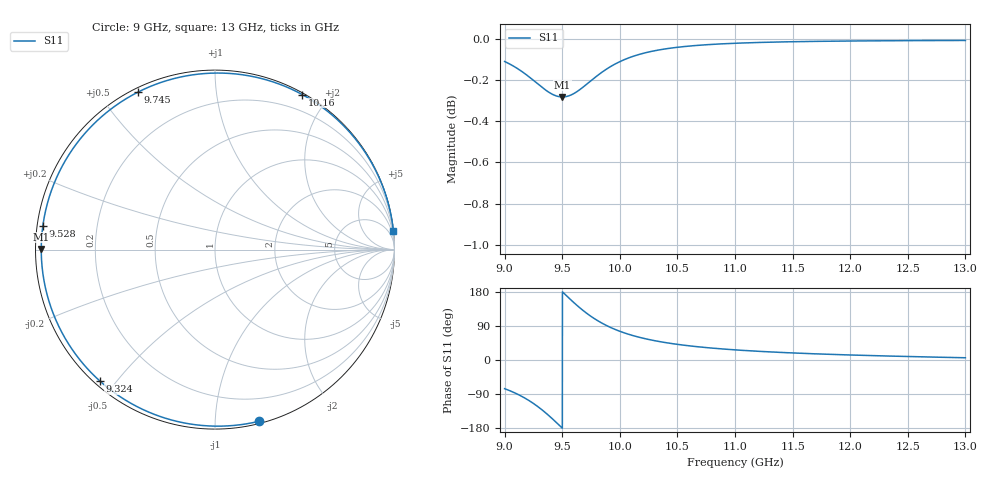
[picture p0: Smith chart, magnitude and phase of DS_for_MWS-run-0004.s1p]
! TOUCHSTONE file generated by CST DESIGN STUDIO
! Date and time: Tue Feb  4 17:30:56 2025
! Project name: C:\Work\MatlabApps\UnitCellOptimizationMatlab\CST\unitcell.cst
! Tree item: Tasks\Sweep1\SPara1\S-Parameters
! Header version: 2024
! Port assignment regex: !\s*Touchstone port\s*([0-9]+)\s*=\s*(CST MWS port|CST DES external port|CST DES block port)\s*(.+)\s* \(\"(.*)\"\)(\s*mode\s*([0-9]+))?.*
! Touchstone port assignment:
! Touchstone port 1 = CST DES external port 1 ("")
# GHz S MA R 50
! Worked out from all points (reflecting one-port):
!   4001 points, 9 GHz to 13 GHz, reference 50 ohm
!   lowest |S11| = -0.3 dB at 9.502 GHz (marker M1), VSWR 61.67, Z = 0.811 + j0.0968 ohm
!   phase of S11 starts at -76 deg and turns -278 deg over the sweep
!   S11 on the Smith chart (normalised r, x): 9 GHz: 0.02, -1.29; 9.324 GHz: 0.02, -0.45; 9.528 GHz: 0.02, +0.07; 9.745 GHz: 0.02, +0.62; 10.16 GHz: 0.02, +1.71; 13 GHz: 0, +19
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9  0.9875 -75.6
9.085  0.9846 -86.3
9.187  0.9803 -102.5
9.258  0.9767 -116.3
9.324  0.9734 -131.4
9.371  0.9712 -143.3
9.42  0.9694 -156.6
9.461  0.9684 -168.3
9.5  0.9681 -179.6
9.502  0.9681 179.8
9.528  0.9682 172.2
9.581  0.9693 157.0
9.641  0.9715 140.7
9.692  0.974 128.1
9.745  0.9767 116.2
9.797  0.9793 105.8
9.855  0.982 95.6
9.927  0.985 84.9
10  0.9874 75.8
10.16  0.9913 60.6
10.315  0.9936 50.2
10.5  0.9954 41.3
10.722  0.9967 33.6
11  0.9976 26.7
11.5  0.9985 18.6
12  0.9989 13.2
12.5  0.9991 9.2
13  0.9992 5.9
